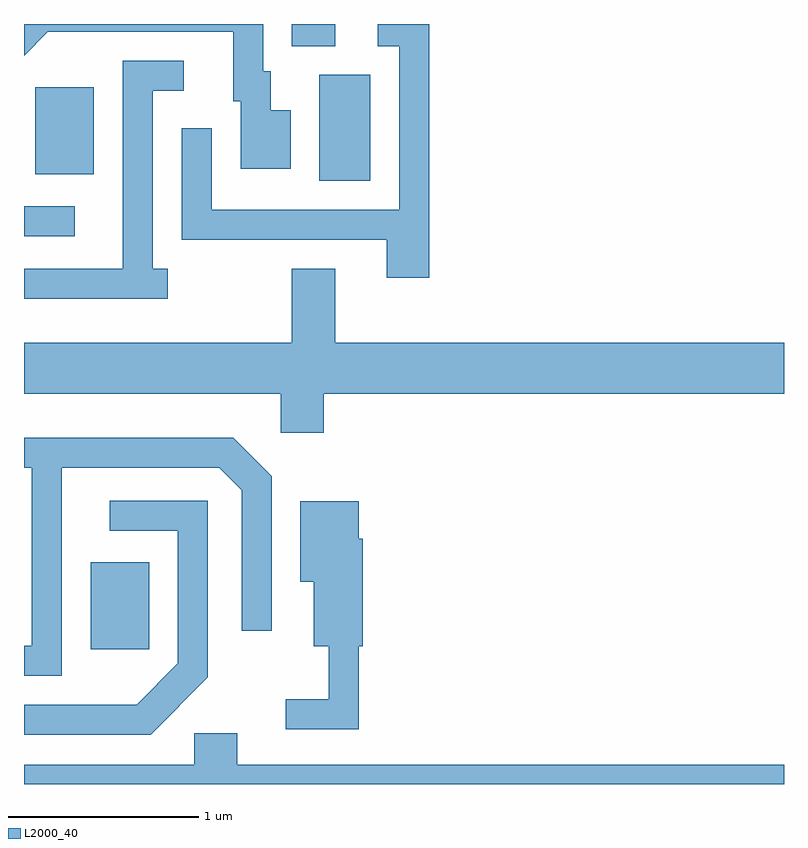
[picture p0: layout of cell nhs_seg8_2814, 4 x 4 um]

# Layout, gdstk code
import gdstk
lib = gdstk.Library(unit=1e-6, precision=1e-09)
def R(c, l, rs):  # rectangles x0, y0, x1, y1
    for r in rs: c.add(gdstk.rectangle(r[:2], r[2:], *l))
def P(c, l, *ps):  # polygons
    for p in ps: c.add(gdstk.Polygon(p, *l))
L2000_40 = (2000, 40)

nhs_seg8_2814 = lib.new_cell('nhs_seg8_2814')
R(nhs_seg8_2814, L2000_40, [(269.961,1855.051,270.269,1855.509), (269.611,1857.226,269.878,1857.384), (271.166,1857.516,271.434,1858.074), (269.671,1857.551,269.979,1858.009), (271.021,1858.226,271.249,1858.342)])
P(nhs_seg8_2814, L2000_40, [(271.014,1857.889),(270.909,1857.889),(270.909,1858.094),(270.869,1858.094),(270.869,1858.342),(269.611,1858.342),(269.611,1858.176),(269.737,1858.301),(270.711,1858.301),(270.711,1857.936),(270.751,1857.936),(270.751,1857.581),(271.014,1857.581)],
  [(271.744,1858.342),(271.473,1858.342),(271.473,1858.226),(271.586,1858.226),(271.586,1857.364),(270.599,1857.364),(270.599,1857.793),(270.441,1857.793),(270.441,1857.206),(271.521,1857.206),(271.521,1857.006),(271.744,1857.006)],
  [(270.368,1857.054),(270.289,1857.054),(270.289,1857.991),(270.453,1857.991),(270.453,1858.149),(270.131,1858.149),(270.131,1857.054),(269.611,1857.054),(269.611,1856.896),(270.368,1856.896)],
  [(271.189,1856.396),(273.611,1856.396),(273.611,1856.664),(271.249,1856.664),(271.249,1857.054),(271.021,1857.054),(271.021,1856.664),(269.611,1856.664),(269.611,1856.396),(270.961,1856.396),(270.961,1856.191),(271.189,1856.191)],
  [(269.809,1856.006),(270.639,1856.006),(270.756,1855.889),(270.756,1855.148),(270.914,1855.148),(270.914,1855.962),(270.712,1856.164),(269.611,1856.164),(269.611,1856.006),(269.651,1856.006),(269.651,1855.069),(269.611,1855.069),(269.611,1854.911),(269.809,1854.911)],
  [(270.579,1854.904),(270.579,1855.834),(270.063,1855.834),(270.063,1855.676),(270.421,1855.676),(270.421,1854.977),(270.204,1854.759),(269.611,1854.759),(269.611,1854.601),(270.277,1854.601)],
  [(271.374,1855.066),(271.394,1855.066),(271.394,1855.634),(271.374,1855.634),(271.374,1855.829),(271.066,1855.829),(271.066,1855.406),(271.136,1855.406),(271.136,1855.066),(271.216,1855.066),(271.216,1854.789),(270.988,1854.789),(270.988,1854.631),(271.374,1854.631)],
  [(273.611,1854.444),(270.734,1854.444),(270.734,1854.609),(270.506,1854.609),(270.506,1854.444),(269.611,1854.444),(269.611,1854.342),(273.611,1854.342)])

lib.write_gds('nhs_seg8_2814.gds')
